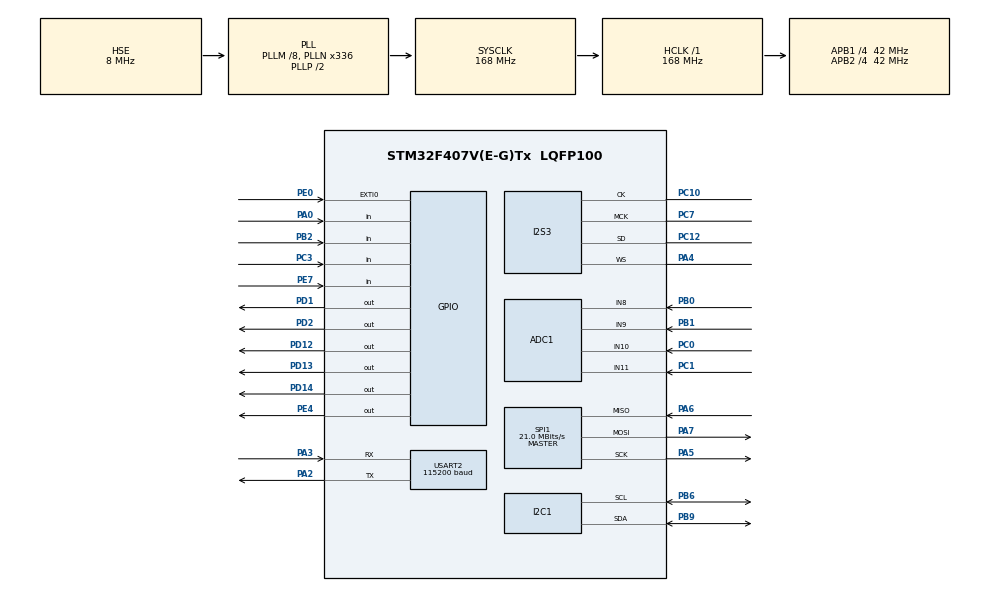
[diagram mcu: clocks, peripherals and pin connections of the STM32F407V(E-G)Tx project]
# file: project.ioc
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ADC1.Channel-0\#ChannelRegularConversion=ADC_CHANNEL_8
ADC1.Channel-3\#ChannelRegularConversion=ADC_CHANNEL_9
ADC1.Channel-4\#ChannelRegularConversion=ADC_CHANNEL_10
ADC1.Channel-5\#ChannelRegularConversion=ADC_CHANNEL_11
ADC1.ContinuousConvMode=ENABLE
ADC1.DMAContinuousRequests=ENABLE
ADC1.InjNumberOfConversion=0
ADC1.NbrOfConversion=4
ADC1.NbrOfConversionFlag=1
ADC1.Rank-0\#ChannelRegularConversion=1
ADC1.Rank-3\#ChannelRegularConversion=2
ADC1.Rank-4\#ChannelRegularConversion=3
ADC1.Rank-5\#ChannelRegularConversion=4
ADC1.SamplingTime-0\#ChannelRegularConversion=ADC_SAMPLETIME_480CYCLES
ADC1.SamplingTime-3\#ChannelRegularConversion=ADC_SAMPLETIME_480CYCLES
ADC1.SamplingTime-4\#ChannelRegularConversion=ADC_SAMPLETIME_480CYCLES
ADC1.SamplingTime-5\#ChannelRegularConversion=ADC_SAMPLETIME_480CYCLES
ADC1.ScanConvMode=ENABLE
ADC1.master=1
Dma.ADC1.1.Direction=DMA_PERIPH_TO_MEMORY
Dma.ADC1.1.FIFOMode=DMA_FIFOMODE_DISABLE
Dma.ADC1.1.Instance=DMA2_Stream0
Dma.ADC1.1.MemDataAlignment=DMA_MDATAALIGN_HALFWORD
Dma.ADC1.1.MemInc=DMA_MINC_ENABLE
Dma.ADC1.1.Mode=DMA_CIRCULAR
Dma.ADC1.1.PeriphDataAlignment=DMA_PDATAALIGN_HALFWORD
Dma.ADC1.1.PeriphInc=DMA_PINC_DISABLE
Dma.ADC1.1.Priority=DMA_PRIORITY_LOW
Dma.Request0=SPI3_TX
Dma.Request1=ADC1
Dma.SPI3_TX.0.Direction=DMA_MEMORY_TO_PERIPH
Dma.SPI3_TX.0.FIFOMode=DMA_FIFOMODE_ENABLE
Dma.SPI3_TX.0.FIFOThreshold=DMA_FIFO_THRESHOLD_FULL
Dma.SPI3_TX.0.Instance=DMA1_Stream5
Dma.SPI3_TX.0.MemBurst=DMA_MBURST_SINGLE
Dma.SPI3_TX.0.MemDataAlignment=DMA_MDATAALIGN_HALFWORD
Dma.SPI3_TX.0.MemInc=DMA_MINC_ENABLE
Dma.SPI3_TX.0.Mode=DMA_CIRCULAR
Dma.SPI3_TX.0.PeriphBurst=DMA_PBURST_SINGLE
Dma.SPI3_TX.0.PeriphDataAlignment=DMA_PDATAALIGN_HALFWORD
Dma.SPI3_TX.0.PeriphInc=DMA_PINC_DISABLE
Dma.SPI3_TX.0.Priority=DMA_PRIORITY_LOW
I2S3.AudioFreq=I2S_AUDIOFREQ_44K
I2S3.ErrorAudioFreq=0.24 %
I2S3.FullDuplexMode=I2S_FULLDUPLEXMODE_DISABLE
I2S3.Instance=SPI$Index
I2S3.RealAudioFreq=44.108 KHz
I2S3.VirtualMode=I2S_MODE_MASTER
Mcu.Family=STM32F4
Mcu.Name=STM32F407V(E-G)Tx
Mcu.Package=LQFP100
NVIC.DMA1_Stream5_IRQn=true\:0\:0\:false\:false\:true\:false\:true
NVIC.DMA2_Stream0_IRQn=true\:0\:0\:false\:false\:true\:false\:true
NVIC.EXTI0_IRQn=true\:15\:0\:true\:false\:true\:true\:true
NVIC.PriorityGroup=NVIC_PRIORITYGROUP_4
NVIC.TIM6_DAC_IRQn=true\:0\:0\:true\:false\:true\:false\:true
NVIC.TimeBase=TIM6_DAC_IRQn
NVIC.TimeBaseIP=TIM6
PA0-WKUP.Signal=GPIO_Input
PA2.Mode=Asynchronous
PA2.Signal=USART2_TX
PA3.Mode=Asynchronous
PA3.Signal=USART2_RX
PA4.Mode=Half_Duplex_Master
PA4.Signal=I2S3_WS
PA5.Mode=Full_Duplex_Master
PA5.Signal=SPI1_SCK
PA6.Mode=Full_Duplex_Master
PA6.Signal=SPI1_MISO
PA7.Mode=Full_Duplex_Master
PA7.Signal=SPI1_MOSI
PB0.Signal=ADCx_IN8
PB1.Signal=ADCx_IN9
PB2.Signal=GPIO_Input
PB6.Mode=I2C
PB6.Signal=I2C1_SCL
PB9.Mode=I2C
PB9.Signal=I2C1_SDA
PC0.Signal=ADCx_IN10
PC1.Signal=ADCx_IN11
PC10.Mode=Half_Duplex_Master
PC10.Signal=I2S3_CK
PC12.Mode=Half_Duplex_Master
PC12.Signal=I2S3_SD
PC3.Signal=GPIO_Input
PC7.Mode=Master_Clock_Activated
PC7.Signal=I2S3_MCK
PD1.Signal=GPIO_Output
PD12.Signal=GPIO_Output
PD13.Signal=GPIO_Output
PD14.Signal=GPIO_Output
PD2.Signal=GPIO_Output
PE0.Signal=GPXTI0
PE4.Signal=GPIO_Output
PE7.Signal=GPIO_Input
PH0-OSC_IN.Mode=HSE-External-Oscillator
PH0-OSC_IN.Signal=RCC_OSC_IN
PH1-OSC_OUT.Mode=HSE-External-Oscillator
PH1-OSC_OUT.Signal=RCC_OSC_OUT
ProjectManager.HeapSize=0x200
ProjectManager.StackSize=0x400
ProjectManager.TargetToolchain=STM32CubeIDE
RCC.48MHZClocksFreq_Value=84000000
RCC.AHBFreq_Value=168000000
RCC.APB1CLKDivider=RCC_HCLK_DIV4
RCC.APB1Freq_Value=42000000
RCC.APB1TimFreq_Value=84000000
RCC.APB2CLKDivider=RCC_HCLK_DIV4
RCC.APB2Freq_Value=42000000
RCC.APB2TimFreq_Value=84000000
RCC.CortexFreq_Value=168000000
RCC.HCLKFreq_Value=168000000
RCC.HSE_VALUE=8000000
RCC.HSI_VALUE=16000000
RCC.LSE_VALUE=32768
RCC.PLLI2SN=271
RCC.PLLI2SR=6
RCC.PLLM=8
RCC.PLLN=336
RCC.PLLSourceVirtual=RCC_PLLSOURCE_HSE
RCC.SYSCLKFreq_VALUE=168000000
RCC.SYSCLKSource=RCC_SYSCLKSOURCE_PLLCLK
RCC.VCOOutputFreq_Value=336000000
SH.ADCx_IN10.0=ADC1_IN10,IN10
SH.ADCx_IN11.0=ADC1_IN11,IN11
SH.ADCx_IN8.0=ADC1_IN8,IN8
SH.ADCx_IN9.0=ADC1_IN9,IN9
SPI1.CalculateBaudRate=21.0 MBits/s
SPI1.Direction=SPI_DIRECTION_2LINES
SPI1.Mode=SPI_MODE_MASTER
SPI1.VirtualType=VM_MASTER
USART2.BaudRate=115200
USART2.VirtualMode=VM_ASYNC
VP_SYS_VS_tim6.Mode=TIM6
board=custom

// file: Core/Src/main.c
/* USER CODE BEGIN Header */
/**
 ******************************************************************************
 * @file           : main.c
 * @brief          : Main program body
 ******************************************************************************
 * @attention
 *
 * <h2><center>&copy; Copyright (c) 2021 STMicroelectronics.
 * All rights reserved.</center></h2>
 *
 * This software component is licensed by ST under BSD 3-Clause license,
 * the "License"; You may not use this file except in compliance with the
 * License. You may obtain a copy of the License at:
 *                        opensource.org/licenses/BSD-3-Clause
 *
 ******************************************************************************
 */
#include <stdbool.h>
#include "mmc_sd.h"
#include "fatfs.h"
#include "fops.h"
#include <string.h>
//#include "main.h"
#include "FreeRTOS.h"

#include "queue.h"
#include "semphr.h"
#include "task.h"
#include "File_Handling.h"
#include "waveplayer.h"
#include "AUDIO.h"
/* USER CODE END Header */
#include "main.h"

/* USER CODE BEGIN Includes */
//#define RXBUFFERSIZE  256
//char RxBuffer[RXBUFFERSIZE];
//#include <stdio.h>
/* USER CODE END Includes */

ADC_HandleTypeDef hadc1;
DMA_HandleTypeDef hdma_adc1;

I2C_HandleTypeDef hi2c1;

I2S_HandleTypeDef hi2s3;
DMA_HandleTypeDef hdma_spi3_tx;

SPI_HandleTypeDef hspi1;

UART_HandleTypeDef huart2;

void SystemClock_Config(void);
static void MX_GPIO_Init(void);
static void MX_DMA_Init(void);
void MX_SPI1_Init(void);
static void MX_I2C1_Init(void);
static void MX_I2S3_Init(void);
static void MX_USART2_UART_Init(void);
static void MX_ADC1_Init(void);
/* USER CODE BEGIN PFP */
//extern ApplicationTypeDef Appli_state;
extern AUDIO_PLAYBACK_StateTypeDef AudioState;
SemaphoreHandle_t xSemaphore;
uint8_t flag = pdTRUE;
uint8_t isFinished = 0;

int file;
extern FILELIST_FileTypeDef FileList;
/* USER CODE END PFP */

/* USER CODE BEGIN 0 */
//UART_HandleTypeDef UartHandle;
/* Private function prototypes -----------------------------------------------*/
void Task1(void *pvParameters);
void Task2(void *pvParameters);
void Task3(void *pvParameters);

// Task Id
const int Adc = 0, Btn1 = 1, Btn2 = 2, Joystick = 3;
const int ListWavBegin = 3, ListWav = 4;

// Winform Command
const char UseWinform = 'A', UseStm32 = 'B', Stm32LoadTrack1 = 'C', Stm32LoadTrack2 = 'D';

// LED Pins
#define GREEN GPIO_PIN_12
#define ORANGE GPIO_PIN_13
#define RED GPIO_PIN_14

int delayTime = 100;
int longDelayTime = 500; // for performance

void SD_RdWrTest(void)
{
	int i = 0;
	static uint8_t bufr[SD_SECTOR_SIZE];
	static uint8_t bufw[SD_SECTOR_SIZE];

	for (i = 0; i < sizeof(bufw); i++) {
		bufr[i] = 0;
		bufw[i] = i % 0xFF;
	}

	SD_WriteDisk(bufw, 1, 1);
	SD_ReadDisk(bufr, 1, 1);
	printf("# SD Card Read & Write Test %s!\r\n",
			memcmp(bufr, bufw, sizeof(bufr)) == 0 ? "Successfully" : "Failed");
}

/* variable resistors task */
void adc()
{
	bool press = false;
	int current_track_index = 0; // 0 to 2

	for (;;) {
		// Stm32 play
		if (states.audioSource == UseStm32) {
			states.track1_volume = (ADCArray[1] + 100) >> 8;
			states.track2_volume = (ADCArray[0] + 100) >> 8;
			vTaskDelay(delayTime);
			continue;
		}

		// Windows play
		// Data Positions
		if (ADCArray[2] > 4000) {
			if (!press) {
				current_track_index = (current_track_index == 2) ? 0 : current_track_index + 1;
				press = true;
			}
		} else if (ADCArray[2] < 100) {
			if (!press) {
				current_track_index = (current_track_index == 0) ? 2 : current_track_index - 1;
				press = true;
			}
		} else {
			press = false;
		}

		// VariableResister0, VariableResister1, current_track_index
		printf("%d %d %d %d\n", Adc, ADCArray[0], ADCArray[1], current_track_index);
		vTaskDelay(delayTime);
	}
}

void button1()
{
	bool press = false;
	for (;;) {
		if (HAL_GPIO_ReadPin(GPIOB, GPIO_PIN_2) == GPIO_PIN_SET ) {
			if (!press) {
				// Stm32 play
				if (states.audioSource == UseStm32) {
					printf("X%d\n", Btn2);
					states.track2_state = (states.track2_state) ? false : true;
				}

				// Windows play
				else {
					printf("%d\n", Btn1);
				}
				press = true;
			}
		}
		else {
			press = false;
		}
		vTaskDelay(delayTime);
	}
}

void button2()
{
	bool press = false;
	for (;;) {
		if (HAL_GPIO_ReadPin(GPIOE, GPIO_PIN_7) == GPIO_PIN_SET) {
			if (!press) {
				// Stm32 play
				if (states.audioSource == UseStm32) {
					states.track1_state = (states.track1_state) ? false : true;
				}

				// Windows play
				else {
					printf("%d\n", Btn2);
				}
				press = true;
			}
		}
		else {
			press = false;
		}
		vTaskDelay(delayTime);
	}
}

/* communicate with Windows */

// Don't call this function when playing music
void list_files()
{
	printf("%d\n", ListWavBegin);
	for (int i = 0; i < AUDIO_GetWavObjectNumber(); i++) {
		printf("%d %s\n", ListWav, FileList.file[i].name);
	}
}

void recv_task()
{
	bool setTrack1 = false;
	bool setTrack2 = false;

    for (;;) {
        uint8_t receive;
        if (HAL_UART_Receive(&huart2, &receive, 1, 1) != HAL_OK) {
        	vTaskDelay(longDelayTime);
        	continue;
        }

        if (setTrack1) {
        	states.track1_file_id = (uint8_t)receive - '0';
        	setTrack1 = false;
        } else if (setTrack2) {
        	states.track2_file_id = (uint8_t)receive - '0';
        	setTrack2 = false;
        }

        if ((char)receive == UseWinform) {
        	HAL_GPIO_WritePin(GPIOD, GREEN, GPIO_PIN_RESET);
        	states.audioSource = UseWinform;
        } else if ((char)receive == UseStm32) {
        	HAL_GPIO_WritePin(GPIOD, GREEN, GPIO_PIN_SET);
        	states.audioSource = UseStm32;
        	list_files();
        } else if ((char)receive == Stm32LoadTrack1) {
        	setTrack1 = true;
        } else if ((char)receive == Stm32LoadTrack2) {
        	setTrack2 = true;
        }
    }
}

//
// Tasks for mixing on stm32
//
void button()
{
	bool press = false;
	for (;;) {
		// Windows play
//		if (states.audioSource == UseWinform) {
//			vTaskDelay(delayTime);
//			continue;
//		}

		if (HAL_GPIO_ReadPin(GPIOA, GPIO_PIN_0) == GPIO_PIN_SET ) {
			if (!press) {
				states.track1_state = true;
				press = true;
			}
		} else {
			press = false;
		}
		vTaskDelay(delayTime);
	}
}

void Stm32playTask(void *pvParameters) {
    bool is_playing = false;
	for (;;) {
		// Windows play
		if (states.audioSource == UseWinform) {
			vTaskDelay(delayTime);
			continue;
		}

		// Stm32 play
		if (states.track1_state == true) {
			if (!is_playing) {
				AUDIO_PLAYER_Start(states.track1_file_id);
				is_playing = true;
			} else {
				if (AudioState == AUDIO_STATE_PAUSE) {
					AudioState = AUDIO_STATE_RESUME;
				} else if (AudioState == AUDIO_STATE_STOP) {
					AUDIO_PLAYER_Stop();
					is_playing = false;
					states.track1_state = false;
				}
				AUDIO_PLAYER_Process(pdTRUE);
			}
		} else {
			AudioState = AUDIO_STATE_PAUSE;
		}
	}

}
/* USER CODE END 0 */

int main(void)
{
  /* USER CODE BEGIN 1 */
	uint64_t CardSize = 0;
  /* USER CODE END 1 */

  /* MCU Configuration--------------------------------------------------------*/

  /* Reset of all peripherals, Initializes the Flash interface and the Systick. */
  HAL_Init();

  /* Configure the system clock */
  SystemClock_Config();

  /* Initialize all configured peripherals */
  MX_GPIO_Init();
  MX_DMA_Init();
  MX_SPI1_Init();
  MX_I2C1_Init();
  MX_I2S3_Init();
  MX_USART2_UART_Init();
  MX_ADC1_Init();
  /* USER CODE BEGIN 2 */

  if(HAL_ADC_Start_DMA(&hadc1, (uint32_t *)ADCArray, 4) != HAL_OK) {
	  printf("ADC initialization error!\r\n");
  }

	CardSize = SD_GetSectorCount();
	CardSize = CardSize * SD_SECTOR_SIZE / 1024 / 1024;

//	printf("# SD Card Type:0x%02X\r\n", SD_Type);
//	printf("# SD Card Size:%luMB\r\n", (uint32_t) CardSize);
	HAL_Delay(1000);

//	printf("\r\n\r\n### HAL Libary SD Card SPI FATFS Demo ###\r\n");
	MX_FATFS_Init();
	exf_mount();
	exf_getfree();

	// This generates TEST.txt, which may cause error when playing music
	// FATFS_RdWrTest();

    /* Initialize LEDs */
    HAL_GPIO_WritePin(GPIOD, GREEN, GPIO_PIN_RESET);
    HAL_GPIO_WritePin(GPIOD, ORANGE, GPIO_PIN_RESET);
    HAL_GPIO_WritePin(GPIOD, RED, GPIO_PIN_RESET);

    /* Initialize program states */
    states.audioSource = UseWinform;
    states.track1_state = false;
    states.track2_state = false;
    states.track1_file_id = 1;
    states.track2_file_id = 0;

    // Windows play
  	xTaskCreate(adc, "adc", 500, NULL, 1, NULL);
  	xTaskCreate(button1, "button1", 200, NULL, 1, NULL);
  	xTaskCreate(button2, "button2", 200, NULL, 1, NULL);
  	xTaskCreate(recv_task, "recv_task", 500, NULL, 1, NULL);

  	// Stm32 play
  	xTaskCreate(Stm32playTask, "task3", 1600, NULL, 1, NULL);

  	vTaskStartScheduler();
  /* USER CODE END 2 */

  /* Infinite loop */
	while (1) {

	}
}

void SystemClock_Config(void)
{
  RCC_OscInitTypeDef RCC_OscInitStruct = {0};
  RCC_ClkInitTypeDef RCC_ClkInitStruct = {0};
  RCC_PeriphCLKInitTypeDef PeriphClkInitStruct = {0};

  /** Configure the main internal regulator output voltage
  */
  __HAL_RCC_PWR_CLK_ENABLE();
  __HAL_PWR_VOLTAGESCALING_CONFIG(PWR_REGULATOR_VOLTAGE_SCALE1);
  /** Initializes the RCC Oscillators according to the specified parameters
  * in the RCC_OscInitTypeDef structure.
  */
  RCC_OscInitStruct.OscillatorType = RCC_OSCILLATORTYPE_HSE;
  RCC_OscInitStruct.HSEState = RCC_HSE_ON;
  RCC_OscInitStruct.PLL.PLLState = RCC_PLL_ON;
  RCC_OscInitStruct.PLL.PLLSource = RCC_PLLSOURCE_HSE;
  RCC_OscInitStruct.PLL.PLLM = 8;
  RCC_OscInitStruct.PLL.PLLN = 336;
  RCC_OscInitStruct.PLL.PLLP = RCC_PLLP_DIV2;
  RCC_OscInitStruct.PLL.PLLQ = 4;
  if (HAL_RCC_OscConfig(&RCC_OscInitStruct) != HAL_OK)
  {
    Error_Handler();
  }
  /** Initializes the CPU, AHB and APB buses clocks
  */
  RCC_ClkInitStruct.ClockType = RCC_CLOCKTYPE_HCLK|RCC_CLOCKTYPE_SYSCLK
                              |RCC_CLOCKTYPE_PCLK1|RCC_CLOCKTYPE_PCLK2;
  RCC_ClkInitStruct.SYSCLKSource = RCC_SYSCLKSOURCE_PLLCLK;
  RCC_ClkInitStruct.AHBCLKDivider = RCC_SYSCLK_DIV1;
  RCC_ClkInitStruct.APB1CLKDivider = RCC_HCLK_DIV4;
  RCC_ClkInitStruct.APB2CLKDivider = RCC_HCLK_DIV4;

  if (HAL_RCC_ClockConfig(&RCC_ClkInitStruct, FLASH_LATENCY_5) != HAL_OK)
  {
    Error_Handler();
  }
  PeriphClkInitStruct.PeriphClockSelection = RCC_PERIPHCLK_I2S;
  PeriphClkInitStruct.PLLI2S.PLLI2SN = 271;
  PeriphClkInitStruct.PLLI2S.PLLI2SR = 6;
  if (HAL_RCCEx_PeriphCLKConfig(&PeriphClkInitStruct) != HAL_OK)
  {
    Error_Handler();
  }
}

static void MX_ADC1_Init(void)
{

  ADC_ChannelConfTypeDef sConfig = {0};

  /** Configure the global features of the ADC (Clock, Resolution, Data Alignment and number of conversion)
  */
  hadc1.Instance = ADC1;
  hadc1.Init.ClockPrescaler = ADC_CLOCK_SYNC_PCLK_DIV2;
  hadc1.Init.Resolution = ADC_RESOLUTION_12B;
  hadc1.Init.ScanConvMode = ENABLE;
  hadc1.Init.ContinuousConvMode = ENABLE;
  hadc1.Init.DiscontinuousConvMode = DISABLE;
  hadc1.Init.ExternalTrigConvEdge = ADC_EXTERNALTRIGCONVEDGE_NONE;
  hadc1.Init.ExternalTrigConv = ADC_SOFTWARE_START;
  hadc1.Init.DataAlign = ADC_DATAALIGN_RIGHT;
  hadc1.Init.NbrOfConversion = 4;
  hadc1.Init.DMAContinuousRequests = ENABLE;
  hadc1.Init.EOCSelection = ADC_EOC_SINGLE_CONV;
  if (HAL_ADC_Init(&hadc1) != HAL_OK)
  {
    Error_Handler();
  }
  /** Configure for the selected ADC regular channel its corresponding rank in the sequencer and its sample time.
  */
  sConfig.Channel = ADC_CHANNEL_8;
  sConfig.Rank = 1;
  sConfig.SamplingTime = ADC_SAMPLETIME_480CYCLES;
  if (HAL_ADC_ConfigChannel(&hadc1, &sConfig) != HAL_OK)
  {
    Error_Handler();
  }
  /** Configure for the selected ADC regular channel its corresponding rank in the sequencer and its sample time.
  */
  sConfig.Channel = ADC_CHANNEL_9;
  sConfig.Rank = 2;
  if (HAL_ADC_ConfigChannel(&hadc1, &sConfig) != HAL_OK)
  {
    Error_Handler();
  }
  /** Configure for the selected ADC regular channel its corresponding rank in the sequencer and its sample time.
  */
  sConfig.Channel = ADC_CHANNEL_10;
  sConfig.Rank = 3;
  if (HAL_ADC_ConfigChannel(&hadc1, &sConfig) != HAL_OK)
  {
    Error_Handler();
  }
  /** Configure for the selected ADC regular channel its corresponding rank in the sequencer and its sample time.
  */
  sConfig.Channel = ADC_CHANNEL_11;
  sConfig.Rank = 4;
  if (HAL_ADC_ConfigChannel(&hadc1, &sConfig) != HAL_OK)
  {
    Error_Handler();
  }

}

static void MX_I2C1_Init(void)
{

  hi2c1.Instance = I2C1;
  hi2c1.Init.ClockSpeed = 100000;
  hi2c1.Init.DutyCycle = I2C_DUTYCYCLE_2;
  hi2c1.Init.OwnAddress1 = 0;
  hi2c1.Init.AddressingMode = I2C_ADDRESSINGMODE_7BIT;
  hi2c1.Init.DualAddressMode = I2C_DUALADDRESS_DISABLE;
  hi2c1.Init.OwnAddress2 = 0;
  hi2c1.Init.GeneralCallMode = I2C_GENERALCALL_DISABLE;
  hi2c1.Init.NoStretchMode = I2C_NOSTRETCH_DISABLE;
  if (HAL_I2C_Init(&hi2c1) != HAL_OK)
  {
    Error_Handler();
  }

}

static void MX_I2S3_Init(void)
{

  hi2s3.Instance = SPI3;
  hi2s3.Init.Mode = I2S_MODE_MASTER_TX;
  hi2s3.Init.Standard = I2S_STANDARD_PHILIPS;
  hi2s3.Init.DataFormat = I2S_DATAFORMAT_16B;
  hi2s3.Init.MCLKOutput = I2S_MCLKOUTPUT_ENABLE;
  hi2s3.Init.AudioFreq = I2S_AUDIOFREQ_44K;
  hi2s3.Init.CPOL = I2S_CPOL_LOW;
  hi2s3.Init.ClockSource = I2S_CLOCK_PLL;
  hi2s3.Init.FullDuplexMode = I2S_FULLDUPLEXMODE_DISABLE;
  if (HAL_I2S_Init(&hi2s3) != HAL_OK)
  {
    Error_Handler();
  }

}

void MX_SPI1_Init(void)
{

  /* SPI1 parameter configuration*/
  hspi1.Instance = SPI1;
  hspi1.Init.Mode = SPI_MODE_MASTER;
  hspi1.Init.Direction = SPI_DIRECTION_2LINES;
  hspi1.Init.DataSize = SPI_DATASIZE_8BIT;
  hspi1.Init.CLKPolarity = SPI_POLARITY_LOW;
  hspi1.Init.CLKPhase = SPI_PHASE_1EDGE;
  hspi1.Init.NSS = SPI_NSS_SOFT;
  hspi1.Init.BaudRatePrescaler = SPI_BAUDRATEPRESCALER_4;
  hspi1.Init.FirstBit = SPI_FIRSTBIT_MSB;
  hspi1.Init.TIMode = SPI_TIMODE_DISABLE;
  hspi1.Init.CRCCalculation = SPI_CRCCALCULATION_DISABLE;
  hspi1.Init.CRCPolynomial = 10;
  if (HAL_SPI_Init(&hspi1) != HAL_OK)
  {
    Error_Handler();
  }

}

static void MX_USART2_UART_Init(void)
{

  huart2.Instance = USART2;
  huart2.Init.BaudRate = 115200;
  huart2.Init.WordLength = UART_WORDLENGTH_8B;
  huart2.Init.StopBits = UART_STOPBITS_1;
  huart2.Init.Parity = UART_PARITY_NONE;
  huart2.Init.Mode = UART_MODE_TX_RX;
  huart2.Init.HwFlowCtl = UART_HWCONTROL_NONE;
  huart2.Init.OverSampling = UART_OVERSAMPLING_16;
  if (HAL_UART_Init(&huart2) != HAL_OK)
  {
    Error_Handler();
  }

}

static void MX_DMA_Init(void)
{

  /* DMA controller clock enable */
  __HAL_RCC_DMA1_CLK_ENABLE();
  __HAL_RCC_DMA2_CLK_ENABLE();

  /* DMA interrupt init */
  /* DMA1_Stream5_IRQn interrupt configuration */
  HAL_NVIC_SetPriority(DMA1_Stream5_IRQn, 0, 0);
  HAL_NVIC_EnableIRQ(DMA1_Stream5_IRQn);
  /* DMA2_Stream0_IRQn interrupt configuration */
  HAL_NVIC_SetPriority(DMA2_Stream0_IRQn, 0, 0);
  HAL_NVIC_EnableIRQ(DMA2_Stream0_IRQn);

}

static void MX_GPIO_Init(void)
{
  GPIO_InitTypeDef GPIO_InitStruct = {0};

  /* GPIO Ports Clock Enable */
  __HAL_RCC_GPIOE_CLK_ENABLE();
  __HAL_RCC_GPIOH_CLK_ENABLE();
  __HAL_RCC_GPIOC_CLK_ENABLE();
  __HAL_RCC_GPIOA_CLK_ENABLE();
  __HAL_RCC_GPIOB_CLK_ENABLE();
  __HAL_RCC_GPIOD_CLK_ENABLE();

  /*Configure GPIO pin Output Level */
  HAL_GPIO_WritePin(GPIOE, GPIO_PIN_4, GPIO_PIN_RESET);

  /*Configure GPIO pin Output Level */
  HAL_GPIO_WritePin(GPIOD, GPIO_PIN_12|GPIO_PIN_13|GPIO_PIN_14|GPIO_PIN_1
                          |GPIO_PIN_2, GPIO_PIN_RESET);

  /*Configure GPIO pin : PE4 */
  GPIO_InitStruct.Pin = GPIO_PIN_4;
  GPIO_InitStruct.Mode = GPIO_MODE_OUTPUT_PP;
  GPIO_InitStruct.Pull = GPIO_NOPULL;
  GPIO_InitStruct.Speed = GPIO_SPEED_FREQ_LOW;
  HAL_GPIO_Init(GPIOE, &GPIO_InitStruct);

  /*Configure GPIO pin : PC3 */
  GPIO_InitStruct.Pin = GPIO_PIN_3;
  GPIO_InitStruct.Mode = GPIO_MODE_INPUT;
  GPIO_InitStruct.Pull = GPIO_NOPULL;
  HAL_GPIO_Init(GPIOC, &GPIO_InitStruct);

  /*Configure GPIO pin : PA0 */
  GPIO_InitStruct.Pin = GPIO_PIN_0;
  GPIO_InitStruct.Mode = GPIO_MODE_INPUT;
  GPIO_InitStruct.Pull = GPIO_NOPULL;
  HAL_GPIO_Init(GPIOA, &GPIO_InitStruct);

  /*Configure GPIO pin : PB2 */
  GPIO_InitStruct.Pin = GPIO_PIN_2;
  GPIO_InitStruct.Mode = GPIO_MODE_INPUT;
  GPIO_InitStruct.Pull = GPIO_NOPULL;
  HAL_GPIO_Init(GPIOB, &GPIO_InitStruct);

  /*Configure GPIO pin : PE7 */
  GPIO_InitStruct.Pin = GPIO_PIN_7;
  GPIO_InitStruct.Mode = GPIO_MODE_INPUT;
  GPIO_InitStruct.Pull = GPIO_NOPULL;
  HAL_GPIO_Init(GPIOE, &GPIO_InitStruct);

  /*Configure GPIO pins : PD12 PD13 PD14 PD1
                           PD2 */
  GPIO_InitStruct.Pin = GPIO_PIN_12|GPIO_PIN_13|GPIO_PIN_14|GPIO_PIN_1
                          |GPIO_PIN_2;
  GPIO_InitStruct.Mode = GPIO_MODE_OUTPUT_PP;
  GPIO_InitStruct.Pull = GPIO_NOPULL;
  GPIO_InitStruct.Speed = GPIO_SPEED_FREQ_LOW;
  HAL_GPIO_Init(GPIOD, &GPIO_InitStruct);

  /*Configure GPIO pin : PE0 */
  GPIO_InitStruct.Pin = GPIO_PIN_0;
  GPIO_InitStruct.Mode = GPIO_MODE_IT_RISING;
  GPIO_InitStruct.Pull = GPIO_NOPULL;
  HAL_GPIO_Init(GPIOE, &GPIO_InitStruct);

  /* EXTI interrupt init*/
  HAL_NVIC_SetPriority(EXTI0_IRQn, 15, 0);
  HAL_NVIC_EnableIRQ(EXTI0_IRQn);

}

/* USER CODE BEGIN 4 */
void HAL_GPIO_EXTI_Callback(uint16_t GPIO_Pin) {
	BaseType_t xHigherPriorityTaskWoken;
	if (GPIO_Pin == GPIO_PIN_0) {
		xHigherPriorityTaskWoken = pdFALSE;
		if (flag == pdTRUE) {
			xSemaphoreGiveFromISR(xSemaphore, &xHigherPriorityTaskWoken);
		} else {
			//do nothing
		}

		HAL_GPIO_TogglePin(GPIOD, GPIO_PIN_14);
		uint8_t data_1 = 0x5f | 0x80;
		HAL_GPIO_WritePin(GPIOE, GPIO_PIN_3, GPIO_PIN_RESET);
		HAL_SPI_Transmit(&hspi1, &data_1, 1, 10);
		////	HAL_Delay(10);
		HAL_SPI_Receive(&hspi1, &data_1, 1, 10);
		HAL_GPIO_WritePin(GPIOE, GPIO_PIN_3, GPIO_PIN_SET);
		portYIELD_FROM_ISR(xHigherPriorityTaskWoken);
	}

}
/* USER CODE END 4 */

 /**
  * @brief  Period elapsed callback in non blocking mode
  * @note   This function is called  when TIM6 interrupt took place, inside
  * HAL_TIM_IRQHandler(). It makes a direct call to HAL_IncTick() to increment
  * a global variable "uwTick" used as application time base.
  * @param  htim : TIM handle
  * @retval None
  */
void HAL_TIM_PeriodElapsedCallback(TIM_HandleTypeDef *htim)
{
  if (htim->Instance == TIM6) {
    HAL_IncTick();
  }
}

void Error_Handler(void)
{
	__disable_irq();
	while (1) {
	}
}

/************************ (C) COPYRIGHT STMicroelectronics *****END OF FILE****/
